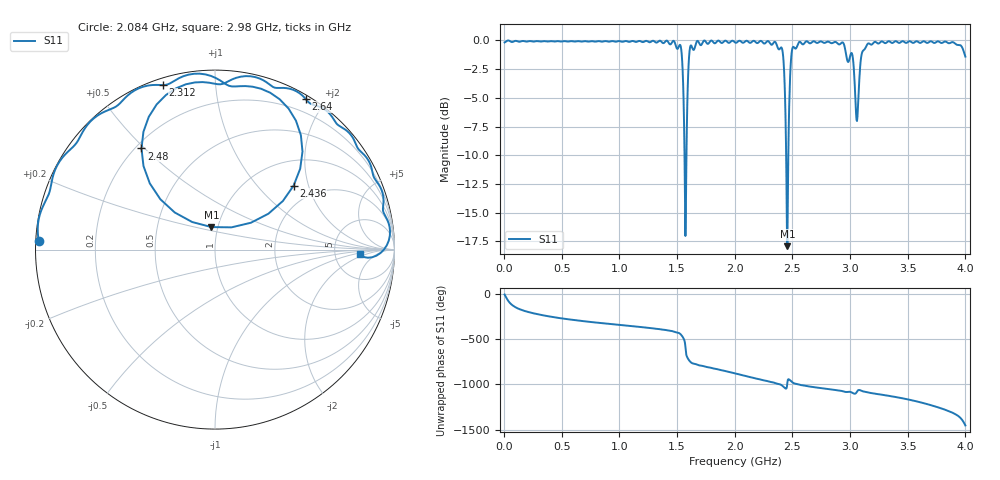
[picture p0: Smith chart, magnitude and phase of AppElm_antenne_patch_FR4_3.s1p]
! TOUCHSTONE file generated by CST MICROWAVE STUDIO
! Date and time: Tue Jun  7 20:32:28 2022
! Project name: AppElm_antenne_patch_FR4.cst
! Parameters = {L=45; W=58.5; e=0.035; h=1.6; lambda=0.190476; ls=120; w0=1.6; w1=0.533333; ws=120; y0=17; y1=23.8095}
! Header version: 2018
! Port assignment regex: !\s*Touchstone port\s*([0-9]+)\s*=\s*(CST MWS port|CST DS port)\s*([0-9]+|Zmin|Zmax)\s*\(\"(.*)\"\)(\s*mode\s*([0-9]+))?.*
! Touchstone port assignment:
! Touchstone port 1 = CST MWS port 1 ("")
# GHz S MA R 50
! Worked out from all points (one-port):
!   1000 points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, 4 MHz to 4 GHz, reference 50 ohm
!   lowest |S11| = -17.9 dB at 2.456 GHz (marker M1), VSWR 1.29, Z = 46.6 + j11.9 ohm
!   |S11| at or under -10 dB: 1.564 GHz to 1.581 GHz (16.95 MHz wide, 1.08 % of centre); 2.445 GHz to 2.464 GHz (19.07 MHz wide, 0.777 % of centre)
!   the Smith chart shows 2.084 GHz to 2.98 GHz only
!   S11 on the Smith chart (normalised r, x): 2.084 GHz: 0.01, +0.03; 2.312 GHz: 0.03, +0.73; 2.436 GHz: 1.54, +1.61; 2.48 GHz: 0.22, +0.49; 2.64 GHz: 0.04, +1.77; 2.98 GHz: 9.24, -1.26
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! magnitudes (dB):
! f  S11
! 4 MHz  -0.2
! 504 MHz  -0.1
! 1.004 GHz  -0.1
! 1.504 GHz  -0.7
! 1.536 GHz  -0.8
! 1.56 GHz  -7.2
! 1.572 GHz  -17.0
! 1.584 GHz  -7.9
! 1.608 GHz  -0.9
! 1.624 GHz  -0.5
! 2.004 GHz  -0.2
! 2.084 GHz  -0.1
! 2.312 GHz  -0.3
! 2.408 GHz  -0.7
! 2.424 GHz  -2.0
! 2.436 GHz  -5.0
! 2.456 GHz  -17.9
! 2.468 GHz  -7.7
! 2.48 GHz  -3.1
! 2.504 GHz  -0.6
! 2.64 GHz  -0.2
! 2.98 GHz  -1.9
! 3.004 GHz  -1.2
! 3.06 GHz  -7.0
! 3.104 GHz  -1.1
! 3.144 GHz  -0.4
! 3.504 GHz  -0.1
! 4 GHz  -1.4
